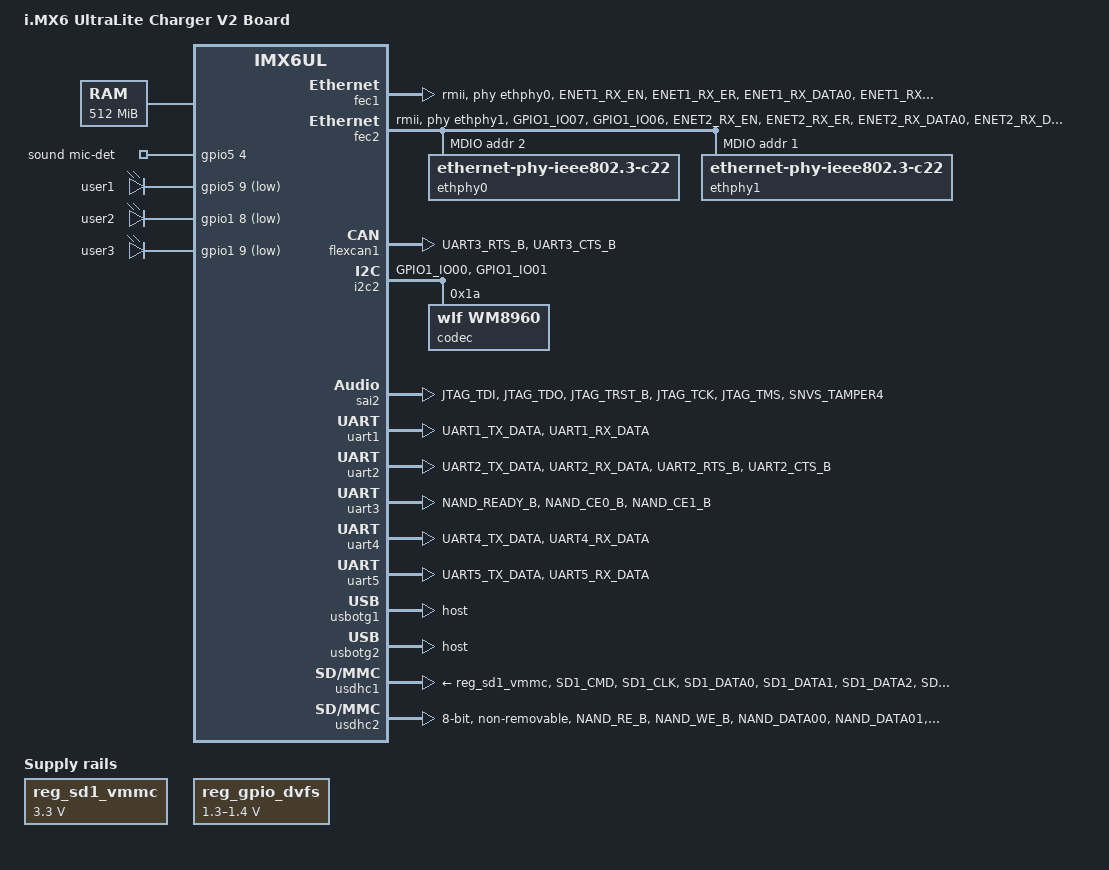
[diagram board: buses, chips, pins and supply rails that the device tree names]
/*
 * Copyright (C) 2015 Freescale Semiconductor, Inc.
 *
 * This program is free software; you can redistribute it and/or modify
 * it under the terms of the GNU General Public License version 2 as
 * published by the Free Software Foundation.
 */

/dts-v1/;

#include <dt-bindings/input/input.h>
#include "imx6ul.dtsi"

/ {
	model = "i.MX6 UltraLite Charger V2 Board";
	compatible = "fsl,imx6ul-14x14-evk", "fsl,imx6ul";

	chosen {
		stdout-path = &uart1;
	};

	memory {
		reg = <0x80000000 0x20000000>;
	};

	reserved-memory {
		#address-cells = <1>;
		#size-cells = <1>;
		ranges;

		linux,cma {
			compatible = "shared-dma-pool";
			reusable;
			size = <0x14000000>;
			linux,cma-default;
		};
	};

	regulators {
		compatible = "simple-bus";
		#address-cells = <1>;
		#size-cells = <0>;

		reg_sd1_vmmc: regulator@1 {
			compatible = "regulator-fixed";
			regulator-name = "VSD_3V3";
			regulator-min-microvolt = <3300000>;
			regulator-max-microvolt = <3300000>;
		};

		reg_gpio_dvfs: regulator-gpio {
			compatible = "regulator-gpio";
			pinctrl-names = "default";
			pinctrl-0 = <&pinctrl_dvfs>;
			regulator-min-microvolt = <1300000>;
			regulator-max-microvolt = <1400000>;
			regulator-name = "gpio_dvfs";
			regulator-type = "voltage";
			gpios = <&gpio5 3 GPIO_ACTIVE_HIGH>;
			states = <1300000 0x1 1400000 0x0>;
		};
	};

	sound {
		compatible = "fsl,imx6ul-evk-wm8960",
			   "fsl,imx-audio-wm8960";
		model = "wm8960-audio";
		cpu-dai = <&sai2>;
		audio-codec = <&codec>;
		asrc-controller = <&asrc>;
		codec-master;
		gpr = <&gpr 4 0x100000 0x100000>;
		/*
                 * hp-det = <hp-det-pin hp-det-polarity>;
		 * hp-det-pin: JD1 JD2  or JD3
		 * hp-det-polarity = 0: hp detect high for headphone
		 * hp-det-polarity = 1: hp detect high for speaker
		 */
		hp-det = <3 0>;
		/* hp-det-gpios = <&gpio5 4 0>; */
		mic-det-gpios = <&gpio5 4 0>;
		audio-routing =
			"Headphone Jack", "HP_L",
			"Headphone Jack", "HP_R",
			"Ext Spk", "SPK_LP",
			"Ext Spk", "SPK_LN",
			"Ext Spk", "SPK_RP",
			"Ext Spk", "SPK_RN",
			"LINPUT2", "Mic Jack",
			"LINPUT3", "Mic Jack",
			"RINPUT1", "Main MIC",
			"RINPUT2", "Main MIC",
			"Mic Jack", "MICB",
			"Main MIC", "MICB",
			"CPU-Playback", "ASRC-Playback",
			"Playback", "CPU-Playback",
			"ASRC-Capture", "CPU-Capture",
			"CPU-Capture", "Capture";
	};

	leds {
		compatible = "gpio-leds";
		pinctrl-names = "default";
		pinctrl-0 = <&pinctrl_gpio_leds>;

		led0: user1 {
			label = "user1";
			gpios = <&gpio5 9 GPIO_ACTIVE_LOW>; /* 102 -> MX6_PANLEDG */
			default-state = "off";
			linux,default-trigger = "heartbeat";
		};

		led1: user2 {
			label = "user2";
			gpios = <&gpio1 8 GPIO_ACTIVE_LOW>; /* 106 -> MX6_PANLEDR */
			default-state = "off";
			linux,default-trigger = "mmc0";
		};

		led2: user3 {
			label = "user3";
			gpios = <&gpio1 9 GPIO_ACTIVE_LOW>; /* 111 -> MX6_LOCLED# */
			default-state = "off";
			linux,default-trigger = "mmc1";
		};
	};
};

&cpu0 {
	arm-supply = <&reg_arm>;
	soc-supply = <&reg_soc>;
	dc-supply = <&reg_gpio_dvfs>;
};

&clks {
	assigned-clocks = <&clks IMX6UL_CLK_PLL4_AUDIO_DIV>;
	assigned-clock-rates = <786432000>;
};

&fec1 {
	pinctrl-names = "default";
	pinctrl-0 = <&pinctrl_enet1>;
	phy-mode = "rmii";
	phy-handle = <&ethphy0>;
	status = "okay";
};

&fec2 {
	pinctrl-names = "default";
	pinctrl-0 = <&pinctrl_enet2>;
	phy-mode = "rmii";
	phy-handle = <&ethphy1>;
	status = "okay";

	mdio {
		#address-cells = <1>;
		#size-cells = <0>;

		ethphy0: ethernet-phy@2 {
			compatible = "ethernet-phy-ieee802.3-c22";
			reg = <2>;
		};

		ethphy1: ethernet-phy@1 {
			compatible = "ethernet-phy-ieee802.3-c22";
			reg = <1>;
		};
	};
};

&flexcan1 {
	pinctrl-names = "default";
	pinctrl-0 = <&pinctrl_flexcan1>;
	/* xceiver-supply = <&reg_can_3v3>; */
	status = "okay";
};

&gpc {
	fsl,cpu_pupscr_sw2iso = <0x1>;
	fsl,cpu_pupscr_sw = <0x0>;
	fsl,cpu_pdnscr_iso2sw = <0x1>;
	fsl,cpu_pdnscr_iso = <0x1>;
	fsl,ldo-bypass = <0>; /* DCDC, ldo-enable */
};

&i2c2 {
	clock_frequency = <100000>;
	pinctrl-names = "default";
	pinctrl-0 = <&pinctrl_i2c2>;
	status = "okay";

	codec: wm8960@1a {
		compatible = "wlf,wm8960";
		reg = <0x1a>;
		clocks = <&clks IMX6UL_CLK_SAI2>;
		clock-names = "mclk";
		wlf,shared-lrclk;
	};
};

&iomuxc {
	pinctrl-names = "default";
	pinctrl-0 = <&pinctrl_hog_1>;
	imx6ul-evk {
		pinctrl_hog_1: hoggrp-1 {
			fsl,pins = <
				MX6UL_PAD_UART1_RTS_B__GPIO1_IO19	0x17059 /* SD1 CD */
				MX6UL_PAD_GPIO1_IO05__USDHC1_VSELECT	0x17059 /* SD1 VSELECT */
				/* MX6UL_PAD_GPIO1_IO09__GPIO1_IO09        0x17059 SD1 RESET */
				MX6UL_PAD_SNVS_TAMPER0__GPIO5_IO00	0x80000000
			>;
		};

		pinctrl_dvfs: dvfsgrp {
			fsl,pins = <
				MX6UL_PAD_SNVS_TAMPER3__GPIO5_IO03	0x79
			>;
		};

		pinctrl_enet1: enet1grp {
			fsl,pins = <
				MX6UL_PAD_ENET1_RX_EN__ENET1_RX_EN	0x1b0b0
				MX6UL_PAD_ENET1_RX_ER__ENET1_RX_ER	0x1b0b0
				MX6UL_PAD_ENET1_RX_DATA0__ENET1_RDATA00	0x1b0b0
				MX6UL_PAD_ENET1_RX_DATA1__ENET1_RDATA01	0x1b0b0
				MX6UL_PAD_ENET1_TX_EN__ENET1_TX_EN	0x1b0b0
				MX6UL_PAD_ENET1_TX_DATA0__ENET1_TDATA00	0x1b0b0
				MX6UL_PAD_ENET1_TX_DATA1__ENET1_TDATA01	0x1b0b0
				MX6UL_PAD_ENET1_TX_CLK__ENET1_REF_CLK1	0x4001b031
			>;
		};

		pinctrl_enet2: enet2grp {
			fsl,pins = <
				MX6UL_PAD_GPIO1_IO07__ENET2_MDC		0x1b0b0
				MX6UL_PAD_GPIO1_IO06__ENET2_MDIO	0x1b0b0
				MX6UL_PAD_ENET2_RX_EN__ENET2_RX_EN	0x1b0b0
				MX6UL_PAD_ENET2_RX_ER__ENET2_RX_ER	0x1b0b0
				MX6UL_PAD_ENET2_RX_DATA0__ENET2_RDATA00	0x1b0b0
				MX6UL_PAD_ENET2_RX_DATA1__ENET2_RDATA01	0x1b0b0
				MX6UL_PAD_ENET2_TX_EN__ENET2_TX_EN	0x1b0b0
				MX6UL_PAD_ENET2_TX_DATA0__ENET2_TDATA00	0x1b0b0
				MX6UL_PAD_ENET2_TX_DATA1__ENET2_TDATA01	0x1b0b0
				MX6UL_PAD_ENET2_TX_CLK__ENET2_REF_CLK2	0x4001b031
			>;
		};

		pinctrl_flexcan1: flexcan1grp{
			fsl,pins = <
				MX6UL_PAD_UART3_RTS_B__FLEXCAN1_RX	0x1b020
				MX6UL_PAD_UART3_CTS_B__FLEXCAN1_TX	0x1b020
			>;
		};

		pinctrl_flexcan2: flexcan2grp{
			fsl,pins = <
				MX6UL_PAD_UART2_RTS_B__FLEXCAN2_RX	0x1b020
				MX6UL_PAD_UART2_CTS_B__FLEXCAN2_TX	0x1b020
			>;
		};

		pinctrl_i2c2: i2c2grp {
			fsl,pins = <
				MX6UL_PAD_GPIO1_IO00__I2C2_SCL 0x4001b8b0
				MX6UL_PAD_GPIO1_IO01__I2C2_SDA 0x4001b8b0
			>;
		};

		pinctrl_sai2: sai2grp {
			fsl,pins = <
				MX6UL_PAD_JTAG_TDI__SAI2_TX_BCLK	0x17088
				MX6UL_PAD_JTAG_TDO__SAI2_TX_SYNC	0x17088
				MX6UL_PAD_JTAG_TRST_B__SAI2_TX_DATA	0x11088
				MX6UL_PAD_JTAG_TCK__SAI2_RX_DATA	0x11088
				MX6UL_PAD_JTAG_TMS__SAI2_MCLK		0x17088
				MX6UL_PAD_SNVS_TAMPER4__GPIO5_IO04	0x17059
			>;
		};

		pinctrl_uart1: uart1grp {
			fsl,pins = <
				MX6UL_PAD_UART1_TX_DATA__UART1_DCE_TX 0x1b0b1
				MX6UL_PAD_UART1_RX_DATA__UART1_DCE_RX 0x1b0b1
			>;
		};

		pinctrl_uart2: uart2grp {
			fsl,pins = <
				MX6UL_PAD_UART2_TX_DATA__UART2_DCE_TX	0x1b0b1
				MX6UL_PAD_UART2_RX_DATA__UART2_DCE_RX	0x1b0b1
				MX6UL_PAD_UART2_RTS_B__UART2_DCE_RTS	0x1b0b1
				MX6UL_PAD_UART2_CTS_B__UART2_DCE_CTS	0x1b0b1
			>;
		};
		
		pinctrl_uart3: uart3grp {
			fsl,pins = <
				MX6UL_PAD_NAND_READY_B__UART3_DCE_TX	0x1b0b1
				MX6UL_PAD_NAND_CE0_B__UART3_DCE_RX		0x1b0b1
				MX6UL_PAD_NAND_CE1_B__UART3_DCE_CTS 	0x1b0b1
			>;
		};

		pinctrl_uart4: uart4grp {
			fsl,pins = <
				MX6UL_PAD_UART4_TX_DATA__UART4_DCE_TX	0x1b0b1
				MX6UL_PAD_UART4_RX_DATA__UART4_DCE_RX	0x1b0b1
			>;
		};

		pinctrl_uart5: uart5grp {
			fsl,pins = <
				MX6UL_PAD_UART5_TX_DATA__UART5_DCE_TX	0x1b0b1
				MX6UL_PAD_UART5_RX_DATA__UART5_DCE_RX	0x1b0b1
			>;
		};

		pinctrl_usdhc1: usdhc1grp {
			fsl,pins = <
				MX6UL_PAD_SD1_CMD__USDHC1_CMD     0x17059
				MX6UL_PAD_SD1_CLK__USDHC1_CLK     0x10071
				MX6UL_PAD_SD1_DATA0__USDHC1_DATA0 0x17059
				MX6UL_PAD_SD1_DATA1__USDHC1_DATA1 0x17059
				MX6UL_PAD_SD1_DATA2__USDHC1_DATA2 0x17059
				MX6UL_PAD_SD1_DATA3__USDHC1_DATA3 0x17059
			>;
		};

		pinctrl_usdhc1_100mhz: usdhc1grp100mhz {
			fsl,pins = <
				MX6UL_PAD_SD1_CMD__USDHC1_CMD     0x170b9
				MX6UL_PAD_SD1_CLK__USDHC1_CLK     0x100b9
				MX6UL_PAD_SD1_DATA0__USDHC1_DATA0 0x170b9
				MX6UL_PAD_SD1_DATA1__USDHC1_DATA1 0x170b9
				MX6UL_PAD_SD1_DATA2__USDHC1_DATA2 0x170b9
				MX6UL_PAD_SD1_DATA3__USDHC1_DATA3 0x170b9
			>;
		};

		pinctrl_usdhc1_200mhz: usdhc1grp200mhz {
			fsl,pins = <
				MX6UL_PAD_SD1_CMD__USDHC1_CMD     0x170f9
				MX6UL_PAD_SD1_CLK__USDHC1_CLK     0x100f9
				MX6UL_PAD_SD1_DATA0__USDHC1_DATA0 0x170f9
				MX6UL_PAD_SD1_DATA1__USDHC1_DATA1 0x170f9
				MX6UL_PAD_SD1_DATA2__USDHC1_DATA2 0x170f9
				MX6UL_PAD_SD1_DATA3__USDHC1_DATA3 0x170f9
			>;
		};

		pinctrl_usdhc2: usdhc2grp {
			fsl,pins = <
				MX6UL_PAD_NAND_RE_B__USDHC2_CLK     0x10069
				MX6UL_PAD_NAND_WE_B__USDHC2_CMD     0x17059
				MX6UL_PAD_NAND_DATA00__USDHC2_DATA0 0x17059
				MX6UL_PAD_NAND_DATA01__USDHC2_DATA1 0x17059
				MX6UL_PAD_NAND_DATA02__USDHC2_DATA2 0x17059
				MX6UL_PAD_NAND_DATA03__USDHC2_DATA3 0x17059
			>;
		};

		pinctrl_usdhc2_8bit: usdhc2grp_8bit {
			fsl,pins = <
				MX6UL_PAD_NAND_RE_B__USDHC2_CLK     0x10069
				MX6UL_PAD_NAND_WE_B__USDHC2_CMD     0x17059
				MX6UL_PAD_NAND_DATA00__USDHC2_DATA0 0x17059
				MX6UL_PAD_NAND_DATA01__USDHC2_DATA1 0x17059
				MX6UL_PAD_NAND_DATA02__USDHC2_DATA2 0x17059
				MX6UL_PAD_NAND_DATA03__USDHC2_DATA3 0x17059
				MX6UL_PAD_NAND_DATA04__USDHC2_DATA4 0x17059
				MX6UL_PAD_NAND_DATA05__USDHC2_DATA5 0x17059
				MX6UL_PAD_NAND_DATA06__USDHC2_DATA6 0x17059
				MX6UL_PAD_NAND_DATA07__USDHC2_DATA7 0x17059
			>;
		};

		pinctrl_usdhc2_8bit_100mhz: usdhc2grp_8bit_100mhz {
			fsl,pins = <
				MX6UL_PAD_NAND_RE_B__USDHC2_CLK     0x100b9
				MX6UL_PAD_NAND_WE_B__USDHC2_CMD     0x170b9
				MX6UL_PAD_NAND_DATA00__USDHC2_DATA0 0x170b9
				MX6UL_PAD_NAND_DATA01__USDHC2_DATA1 0x170b9
				MX6UL_PAD_NAND_DATA02__USDHC2_DATA2 0x170b9
				MX6UL_PAD_NAND_DATA03__USDHC2_DATA3 0x170b9
				MX6UL_PAD_NAND_DATA04__USDHC2_DATA4 0x170b9
				MX6UL_PAD_NAND_DATA05__USDHC2_DATA5 0x170b9
				MX6UL_PAD_NAND_DATA06__USDHC2_DATA6 0x170b9
				MX6UL_PAD_NAND_DATA07__USDHC2_DATA7 0x170b9
			>;
		};

		pinctrl_usdhc2_8bit_200mhz: usdhc2grp_8bit_200mhz {
			fsl,pins = <
				MX6UL_PAD_NAND_RE_B__USDHC2_CLK     0x100f9
				MX6UL_PAD_NAND_WE_B__USDHC2_CMD     0x170f9
				MX6UL_PAD_NAND_DATA00__USDHC2_DATA0 0x170f9
				MX6UL_PAD_NAND_DATA01__USDHC2_DATA1 0x170f9
				MX6UL_PAD_NAND_DATA02__USDHC2_DATA2 0x170f9
				MX6UL_PAD_NAND_DATA03__USDHC2_DATA3 0x170f9
				MX6UL_PAD_NAND_DATA04__USDHC2_DATA4 0x170f9
				MX6UL_PAD_NAND_DATA05__USDHC2_DATA5 0x170f9
				MX6UL_PAD_NAND_DATA06__USDHC2_DATA6 0x170f9
				MX6UL_PAD_NAND_DATA07__USDHC2_DATA7 0x170f9
			>;
		};

		pinctrl_wdog: wdoggrp {
			fsl,pins = <
				MX6UL_PAD_LCD_RESET__WDOG1_WDOG_ANY    0x30b0
			>;
		};
		
		pinctrl_gpio_leds: gpioledsgrp {
			fsl,pins = <
				MX6UL_PAD_SNVS_TAMPER9__GPIO5_IO09	0x79 /* user1 led */
				MX6UL_PAD_GPIO1_IO08__GPIO1_IO08	0x17059 /* user2 led */
				MX6UL_PAD_GPIO1_IO09__GPIO1_IO09	0x17059 /* user3 led */
			>;
		};
	};
};

&sai2 {
	pinctrl-names = "default";
	pinctrl-0 = <&pinctrl_sai2>;

	assigned-clocks = <&clks IMX6UL_CLK_SAI2_SEL>,
			  <&clks IMX6UL_CLK_SAI2>;
	assigned-clock-parents = <&clks IMX6UL_CLK_PLL4_AUDIO_DIV>;
	assigned-clock-rates = <0>, <12288000>;

	status = "okay";
};

&uart1 {
	pinctrl-names = "default";
	pinctrl-0 = <&pinctrl_uart1>;
	status = "okay";
};

&uart2 {
	pinctrl-names = "default";
	pinctrl-0 = <&pinctrl_uart2>;
	fsl,uart-has-rtscts;
	/* for DTE mode, add below change */
	/* fsl,dte-mode; */
	/* pinctrl-0 = <&pinctrl_uart2dte>; */
	rs485-rts-active-high;
	rs485-rts-delay = <0 0>;
	linux,rs485-enabled-at-boot-time;
	status = "okay";
};

&uart3 {
	pinctrl-names = "default";
	pinctrl-0 = <&pinctrl_uart3>;
	fsl,uart-has-rtscts;
	rs485-rts-active-high;
	rs485-rts-delay = <0 0>;
	linux,rs485-enabled-at-boot-time;
	status = "okay";
};

&uart4 {
	pinctrl-names = "default";
	pinctrl-0 = <&pinctrl_uart4>;
	status = "okay";
};

&uart5 {
	pinctrl-names = "default";
	pinctrl-0 = <&pinctrl_uart5>;
	status = "okay";
};

&usbotg1 {
	dr_mode = "host";
	disable-over-current;
	status = "okay";
};

&usbotg2 {
	dr_mode = "host";
	disable-over-current;
	status = "okay";
};

&usbphy1 {
	tx-d-cal = <0x5>;
};

&usbphy2 {
	tx-d-cal = <0x5>;
};

&usdhc1 {
	pinctrl-names = "default", "state_100mhz", "state_200mhz";
	pinctrl-0 = <&pinctrl_usdhc1>;
	pinctrl-1 = <&pinctrl_usdhc1_100mhz>;
	pinctrl-2 = <&pinctrl_usdhc1_200mhz>;
	cd-gpios = <&gpio1 19 GPIO_ACTIVE_LOW>;
	keep-power-in-suspend;
	enable-sdio-wakeup;
	vmmc-supply = <&reg_sd1_vmmc>;
	status = "okay";
};

&usdhc2 {
	pinctrl-names = "default", "state_100mhz", "state_200mhz";
	pinctrl-0 = <&pinctrl_usdhc2_8bit>;
	pinctrl-1 = <&pinctrl_usdhc2_8bit_100mhz>;
	pinctrl-2 = <&pinctrl_usdhc2_8bit_200mhz>;
	bus-width = <8>;
	/* no-1-8-v; */
	non-removable;
	/* keep-power-in-suspend; */
	/* enable-sdio-wakeup; */
	status = "okay";
};

&wdog1 {
	pinctrl-names = "default";
	pinctrl-0 = <&pinctrl_wdog>;
	fsl,wdog_b;
};
